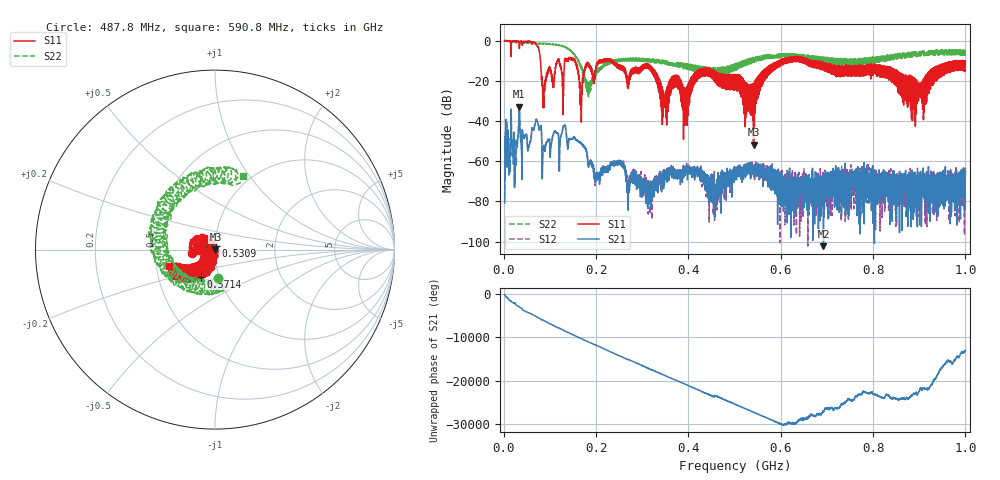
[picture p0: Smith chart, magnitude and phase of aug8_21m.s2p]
!Keysight Technologies N9923A: A.12.45
!Date: Friday, 08 August 2025 17:43:43
!Timezone: (UTC+08:00) Kuala Lumpur, Singapore
!Model: N9923A
!Serial: MY61181427
!GPS Latitude:
!GPS Longitude:
!GPS TimeStamp: 0001-01-01 00:00:00Z
!GPS Seconds Since Last Read: 0
!CHECKSUM:0259454914
!Correction: S11(ON U)S21(ON U)S12(ON U)S22(ON U)
!S2P File: Measurements:S11,S21,S12,S22:
# Hz S DB R 50
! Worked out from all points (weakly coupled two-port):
!   4001 points, 2 MHz to 1 GHz, reference 50 ohm
!   highest |S21| = -32.88 dB at 33.94 MHz (marker M1); lowest = -102.2 dB at 692.6 MHz (marker M2)
!   lowest |S11| = -51.8 dB at 541.2 MHz (marker M3), VSWR 1.01, Z = 50.3 - j0.0341 ohm
!   |S11| at or under -10 dB: 155.1 MHz to 205.9 MHz (50.76 MHz wide, 28.1 % of centre); 236 MHz to 596.3 MHz (360.3 MHz wide, 86.6 % of centre); 668.9 MHz to 980.9 MHz (312 MHz wide, 37.8 % of centre) (the widest 3 of 81)
!   |S22| runs from -28.0 to 0.1 dB; largest |S21 - S12| = 0.0012
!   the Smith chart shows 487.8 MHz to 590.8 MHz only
!   S11 on the Smith chart (normalised r, x): 487.8 MHz: 0.78, -0.03; 530.9 MHz: 1.01, +0.04; 571.4 MHz: 0.82, -0.25; 590.8 MHz: 0.58, -0.12
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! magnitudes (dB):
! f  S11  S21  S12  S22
! 2 MHz  -0.1  -80.7  -78.2  0.0
! 7.489 MHz  -0.1  -58.5  -58.4  -0.2
! 33.94 MHz  -4.0  -32.9  -32.8  -1.0
! 72.11 MHz  -2.3  -39.9  -39.7  -1.3
! 86.83 MHz  -33.5  -52.7  -52.2  -1.7
! 145.2 MHz  -8.5  -49.1  -49.1  -5.3
! 168.4 MHz  -35.6  -51.6  -51.5  -13.5
! 183.6 MHz  -11.4  -62.8  -62.8  -28.0
! 222.6 MHz  -9.1  -65.6  -63.3  -11.1
! 334.8 MHz  -19.2  -69.5  -69.4  -11.3
! 348.3 MHz  -32.8  -67.0  -69.1  -11.7
! 487.8 MHz  -17.9  -66.9  -70.4  -16.1
! 501 MHz  -16.8  -67.0  -64.0  -14.9
! 530.9 MHz  -33.5  -65.1  -65.4  -10.4
! 541.2 MHz  -51.8  -62.1  -63.8  -10.1
! 571.4 MHz  -15.4  -66.1  -65.1  -7.8
! 590.8 MHz  -11.3  -70.3  -69.7  -7.1
! 667.4 MHz  -10.3  -73.1  -75.4  -8.3
! 692.6 MHz  -10.9  -102.2  -66.6  -8.6
! 833.8 MHz  -18.3  -68.7  -85.2  -8.2
! 906.2 MHz  -23.4  -67.4  -68.3  -6.7
! 1 GHz  -11.7  -64.7  -63.0  -6.1
